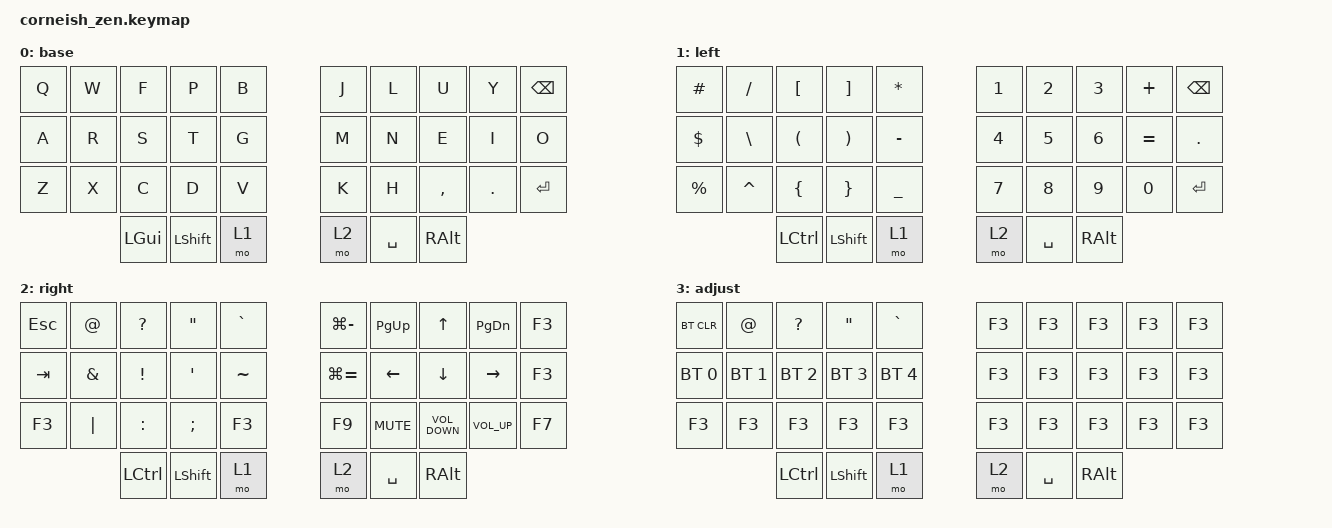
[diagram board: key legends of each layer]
#include <behaviors.dtsi>
#include <dt-bindings/zmk/keys.h>
#include <dt-bindings/zmk/bt.h>

/ {
  chosen {
    //zmk,matrix_transform = &default_transform;
    zmk,matrix_transform = &five_column_transform;
  };
};

/ {

// Define email macros
    macros {
        email1: email1 {
            compatible = "zmk,behavior-macro";
            label = "EMAIL_ONE";
            #binding-cells = <0>;
            // Replace with your actual email - example: yourname@gmail.com
            bindings = <&kp V &kp I &kp C &kp K &kp Y &kp DOT 
                        &kp C &kp H &kp U &kp Q &kp I &kp A &kp O &kp DOT 
                        &kp Y &kp A &kp N &kp G
                       &kp AT 
                       &kp G &kp M &kp A &kp I &kp L 
                       &kp DOT 
                       &kp C &kp O &kp M>;
        };
        
        email2: email2 {
            compatible = "zmk,behavior-macro";
            label = "EMAIL_TWO";
            #binding-cells = <0>;
            // Replace with your second email - example: work@company.com
            bindings = <&kp V &kp I &kp C &kp K &kp Y &kp DOT 
                        &kp S &kp E &kp R &kp E &kp N &kp D &kp I &kp P &kp I &kp T &kp Y
                       &kp AT 
                       &kp G &kp M &kp A &kp I &kp L 
                       &kp DOT 
                       &kp C &kp O &kp M>;
        };
        
        email3: email3 {
            compatible = "zmk,behavior-macro";
            label = "EMAIL_THREE";
            #binding-cells = <0>;
         
            bindings = <&kp C &kp H &kp U &kp Q &kp I &kp A &kp O &kp DOT
                        &kp Y
                       &kp AT 
                       &kp G &kp M &kp A &kp I &kp L 
                       &kp DOT 
                       &kp C &kp O &kp M>;
        };
    
        
        
    };
    
    // Define combos for EMW and EMF
    combos {
        compatible = "zmk,combos";
        
        // Combo: E + M + W = Email 1
        combo_email1 {
            timeout-ms = <50>;
            key-positions = <17 15 1>;  // E, M, W positions
            bindings = <&email1>;
            layers = <0>;  // Only works on default layer
        };
        
        // Combo: E + M + F = Email 2
        combo_email2 {
            timeout-ms = <50>;
            key-positions = <17 15 2>;  // E, M, F positions
            bindings = <&email2>;
            layers = <0>;  // Only works on default layer
        };
        
         // Combo: E + M + P = Email 3
        combo_email3 {
            timeout-ms = <50>;
            key-positions = <17 15 3>;  
            bindings = <&email3>;
            layers = <0>;  // Only works on default layer
        };
    };


    conditional_layers {
        compatible = "zmk,conditional-layers";
        tri_layer {
            if-layers = <1 2>;
            then-layer = <3>;
        };
    };
};

/ {
        keymap {
                compatible = "zmk,keymap";
                
                default_layer {
                        label = "base";
                        bindings = <
   &kp Q &kp W &kp F &kp P &kp B   &kp J &kp L  &kp U     &kp Y   &kp BSPC  
   &kp A &kp R &kp S &kp T &kp G   &kp M &kp N  &kp E     &kp I   &kp O     
   &kp Z &kp X &kp C &kp D &kp V   &kp K &kp H  &kp COMMA &kp DOT &kp RET 
                  &kp LGUI &kp LSHFT &mo 1   &mo 2 &kp SPACE &kp RALT
                        >;
                };
                
              raise_layer {
                        label = "left";
                        bindings = <
   &kp HASH    &kp FSLH     &kp LEFT_BRACKET      &kp RIGHT_BRACKET       &kp STAR          &kp N1   &kp N2   &kp N3 &kp PLUS   &kp BSPC 
   &kp DOLLAR  &kp BSLH     &kp LEFT_PARENTHESIS  &kp RIGHT_PARENTHESIS   &kp MINUS         &kp N4   &kp N5   &kp N6 &kp EQUAL  &kp DOT 
   &kp PERCENT &kp CARET    &kp LEFT_BRACE        &kp RIGHT_BRACE         &kp UNDERSCORE    &kp N7   &kp N8   &kp N9 &kp N0     &kp RET 
                          	        &kp LCTRL     &kp LSHFT       &mo 1           &mo 2  &kp SPACE   &kp RALT
                        >;
                };
                
             lower_layer {
                        label = "right";
                        bindings = <
   &kp ESC  &kp AT     &kp QMARK  &kp DOUBLE_QUOTES  &kp GRAVE   &kp LG(MINUS)           &kp PG_UP        &kp UP       &kp PG_DN      &kp F3 
   &kp TAB  &kp AMPS   &kp EXCL   &kp SINGLE_QUOTE   &kp TILDE   &kp LG(EQUAL)           &kp LEFT      &kp DOWN     &kp RIGHT     &kp F3 
   &kp F3   &kp PIPE   &kp COLON  &kp SEMICOLON      &kp F3      &kp F9           &kp K_MUTE       &kp K_VOLUME_DOWN       &kp K_VOLUME_UP        &kp F7 
                          	        &kp LCTRL     &kp LSHFT       &mo 1           &mo 2  &kp SPACE   &kp RALT
                        >;
                };

              adjust_layer {
                        label = "adjust";
                        bindings = <
   &bt BT_CLR  &kp AT     &kp QMARK  &kp DOUBLE_QUOTES  &kp GRAVE                 &kp F3      &kp F3    &kp F3     &kp F3     &kp F3 
   &bt BT_SEL 0 &bt BT_SEL 1 &bt BT_SEL 2 &bt BT_SEL 3 &bt BT_SEL 4               &kp F3      &kp F3    &kp F3     &kp F3     &kp F3 
   &kp F3   &kp F3   &kp F3  &kp F3      &kp F3                                   &kp F3      &kp F3    &kp F3     &kp F3     &kp F3 
                          	        &kp LCTRL     &kp LSHFT       &mo 1           &mo 2  &kp SPACE   &kp RALT
                        >;
                };




        };
};
